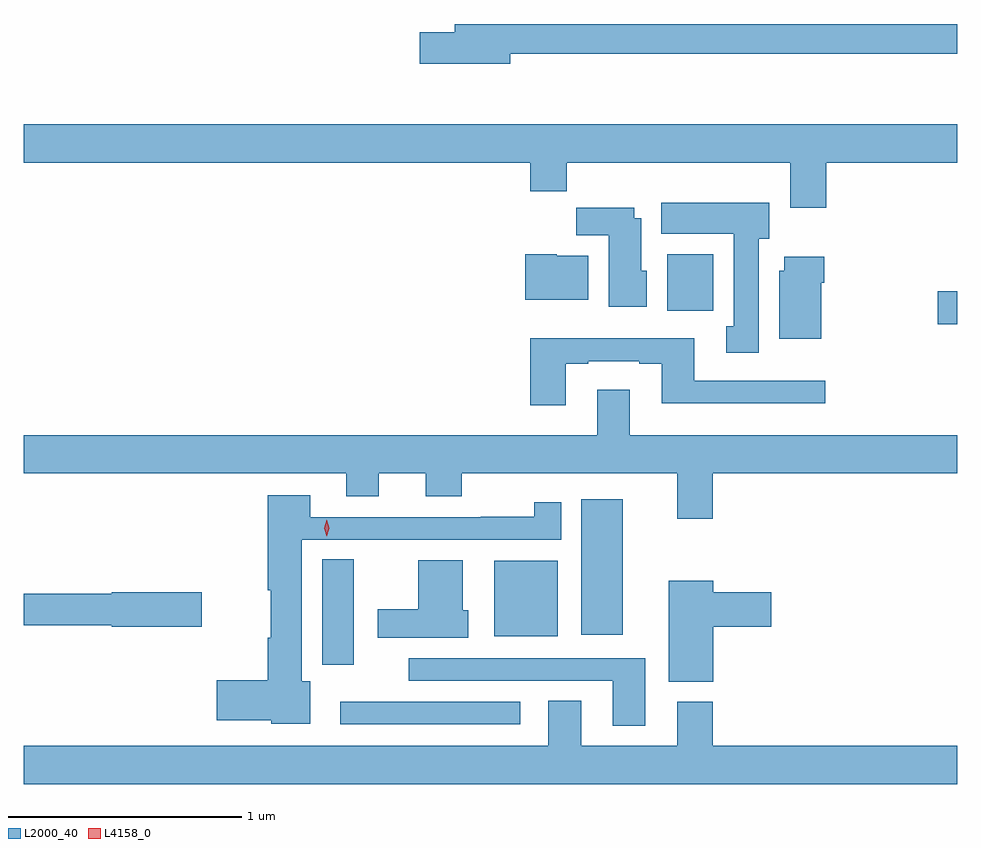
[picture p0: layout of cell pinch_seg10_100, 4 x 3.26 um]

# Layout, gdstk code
import gdstk
lib = gdstk.Library(unit=1e-6, precision=1e-09)
def R(c, l, rs):  # rectangles x0, y0, x1, y1
    for r in rs: c.add(gdstk.rectangle(r[:2], r[2:], *l))
def P(c, l, *ps):  # polygons
    for p in ps: c.add(gdstk.Polygon(p, *l))
L2000_40 = (2000, 40)
L4158_0 = (4158, 0)

pinch_seg10_100 = lib.new_cell('pinch_seg10_100')
R(pinch_seg10_100, L2000_40, [(711.336,1309.896,712.108,1309.992), (711.26,1310.151,711.394,1310.603), (711.998,1310.273,712.27,1310.596), (712.37,1310.279,712.549,1310.86), (713.898,1311.61,713.981,1311.752), (712.739,1311.668,712.936,1311.91)])
P(pinch_seg10_100, L2000_40, [(712.066,1312.77),(713.981,1312.77),(713.981,1312.898),(711.827,1312.898),(711.827,1312.862),(711.678,1312.862),(711.678,1312.727),(712.066,1312.727)],
  [(713.42,1312.304),(713.981,1312.304),(713.981,1312.468),(709.981,1312.468),(709.981,1312.304),(712.151,1312.304),(712.151,1312.18),(712.307,1312.18),(712.307,1312.304),(713.267,1312.304),(713.267,1312.11),(713.42,1312.11)],
  [(713.131,1311.978),(713.176,1311.978),(713.176,1312.132),(712.712,1312.132),(712.712,1311.998),(713.024,1311.998),(713.024,1311.602),(712.991,1311.602),(712.991,1311.489),(713.131,1311.489)],
  [(712.651,1311.84),(712.627,1311.84),(712.627,1312.066),(712.597,1312.066),(712.597,1312.111),(712.348,1312.111),(712.348,1311.992),(712.487,1311.992),(712.487,1311.686),(712.651,1311.686)],
  [(712.399,1311.904),(712.266,1311.904),(712.266,1311.91),(712.13,1311.91),(712.13,1311.716),(712.399,1311.716)],
  [(713.398,1311.788),(713.411,1311.788),(713.411,1311.901),(713.24,1311.901),(713.24,1311.84),(713.219,1311.84),(713.219,1311.548),(713.398,1311.548)],
  [(712.303,1311.441),(712.399,1311.441),(712.399,1311.453),(712.619,1311.453),(712.619,1311.441),(712.715,1311.441),(712.715,1311.272),(713.416,1311.272),(713.416,1311.369),(712.855,1311.369),(712.855,1311.55),(712.151,1311.55),(712.151,1311.264),(712.303,1311.264)],
  [(712.934,1310.972),(713.981,1310.972),(713.981,1311.136),(712.579,1311.136),(712.579,1311.331),(712.439,1311.331),(712.439,1311.136),(709.981,1311.136),(709.981,1310.972),(711.362,1310.972),(711.362,1310.873),(711.502,1310.873),(711.502,1310.972),(711.704,1310.972),(711.704,1310.873),(711.857,1310.873),(711.857,1310.972),(712.781,1310.972),(712.781,1310.778),(712.934,1310.778)],
  [(711.208,1310.08),(711.172,1310.08),(711.172,1310.688),(712.285,1310.688),(712.285,1310.848),(712.168,1310.848),(712.168,1310.786),(711.94,1310.786),(711.94,1310.784),(711.208,1310.784),(711.208,1310.878),(711.026,1310.878),(711.026,1310.471),(711.038,1310.471),(711.038,1310.267),(711.026,1310.267),(711.026,1310.084),(710.808,1310.084),(710.808,1309.913),(711.042,1309.913),(711.042,1309.898),(711.208,1309.898)],
  [(711.886,1310.385),(711.862,1310.385),(711.862,1310.599),(711.671,1310.599),(711.671,1310.389),(711.498,1310.389),(711.498,1310.267),(711.886,1310.267)],
  [(712.936,1310.315),(713.185,1310.315),(713.185,1310.462),(712.936,1310.462),(712.936,1310.512),(712.745,1310.512),(712.745,1310.078),(712.936,1310.078)],
  [(710.743,1310.462),(710.358,1310.462),(710.358,1310.456),(709.981,1310.456),(709.981,1310.32),(710.358,1310.32),(710.358,1310.315),(710.743,1310.315)],
  [(712.645,1310.178),(711.63,1310.178),(711.63,1310.082),(712.505,1310.082),(712.505,1309.89),(712.645,1309.89)],
  [(713.981,1309.804),(712.934,1309.804),(712.934,1309.993),(712.781,1309.993),(712.781,1309.804),(712.369,1309.804),(712.369,1309.997),(712.229,1309.997),(712.229,1309.804),(709.981,1309.804),(709.981,1309.64),(713.981,1309.64)])
P(pinch_seg10_100, L4158_0, [(711.278,1310.701),(711.278,1310.701),(711.269,1310.737),(711.28,1310.773),(711.28,1310.773),(711.28,1310.773),(711.289,1310.737),(711.278,1310.701)])

lib.write_gds('pinch_seg10_100.gds')
